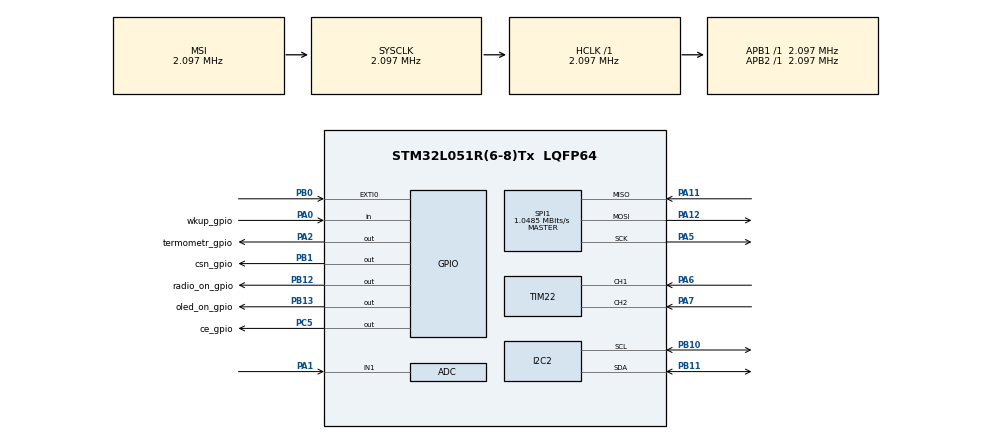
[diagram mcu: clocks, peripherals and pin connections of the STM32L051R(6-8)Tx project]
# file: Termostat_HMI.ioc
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Mcu.Family=STM32L0
Mcu.Name=STM32L051R(6-8)Tx
Mcu.Package=LQFP64
NVIC.EXTI0_1_IRQn=true\:0\:0\:false\:false\:true\:true\:true\:true
PA0.GPIO_Label=wkup_gpio
PA0.Signal=GPIO_Input
PA1.Mode=IN1
PA1.Signal=ADC_IN1
PA11.Mode=Full_Duplex_Master
PA11.Signal=SPI1_MISO
PA12.Mode=Full_Duplex_Master
PA12.Signal=SPI1_MOSI
PA13.Mode=Serial_Wire
PA13.Signal=SYS_SWDIO
PA14.Mode=Serial_Wire
PA14.Signal=SYS_SWCLK
PA2.GPIO_Label=termometr_gpio
PA2.GPIO_ModeDefaultOutputPP=GPIO_MODE_OUTPUT_OD
PA2.GPIO_PuPd=GPIO_NOPULL
PA2.Signal=GPIO_Output
PA5.Mode=Full_Duplex_Master
PA5.Signal=SPI1_SCK
PA6.Signal=S_TIM22_CH1
PA7.Signal=S_TIM22_CH2
PB0.Signal=GPXTI0
PB1.GPIO_Label=csn_gpio
PB1.Signal=GPIO_Output
PB10.Mode=I2C
PB10.Signal=I2C2_SCL
PB11.Mode=I2C
PB11.Signal=I2C2_SDA
PB12.GPIO_Label=radio_on_gpio
PB12.PinState=GPIO_PIN_SET
PB12.Signal=GPIO_Output
PB13.GPIO_Label=oled_on_gpio
PB13.GPIO_PuPd=GPIO_NOPULL
PB13.PinState=GPIO_PIN_SET
PB13.Signal=GPIO_Output
PC5.GPIO_Label=ce_gpio
PC5.Signal=GPIO_Output
ProjectManager.HeapSize=0x200
ProjectManager.StackSize=0x400
ProjectManager.TargetToolchain=STM32CubeIDE
RCC.AHBFreq_Value=2097000
RCC.APB1Freq_Value=2097000
RCC.APB1TimFreq_Value=2097000
RCC.APB2Freq_Value=2097000
RCC.APB2TimFreq_Value=2097000
RCC.HSE_VALUE=8000000
RCC.HSI16_VALUE=16000000
RCC.HSI_VALUE=16000000
RCC.LSE_VALUE=32768
RCC.MSI_VALUE=2097000
RCC.SYSCLKFreq_VALUE=2097000
RCC.VCOOutputFreq_Value=48000000
SH.S_TIM22_CH1.0=TIM22_CH1,Encoder_Interface
SH.S_TIM22_CH2.0=TIM22_CH2,Encoder_Interface
SPI1.CalculateBaudRate=1.0485 MBits/s
SPI1.Direction=SPI_DIRECTION_2LINES
SPI1.Mode=SPI_MODE_MASTER
SPI1.VirtualType=VM_MASTER
TIM22.EncoderMode=TIM_ENCODERMODE_TI12
VP_TIM2_VS_ClockSourceINT.Mode=Internal
board=custom

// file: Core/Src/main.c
/* USER CODE BEGIN Header */
/**
  ******************************************************************************
  * @file           : main.c
  * @brief          : Main program body
  ******************************************************************************
  * @attention
  *
  * Copyright (c) 2024 STMicroelectronics.
  * All rights reserved.
  *
  * This software is licensed under terms that can be found in the LICENSE file
  * in the root directory of this software component.
  * If no LICENSE file comes with this software, it is provided AS-IS.
  *
  ******************************************************************************
  */
/* USER CODE END Header */
#include "main.h"
#include "adc.h"
#include "i2c.h"
#include "spi.h"
#include "tim.h"
#include "gpio.h"

void SystemClock_Config(void);

/* USER CODE BEGIN 0 */
#include "menu.h"
#include "termostat.h"
#include "ds18b20.h"
DS18b20_Typedef termo;
termostat_Typedef htermostat;
menu_Typedef oled;
uint32_t tick;
/* USER CODE END 0 */

int main(void)
{

  /* MCU Configuration--------------------------------------------------------*/

  /* Reset of all peripherals, Initializes the Flash interface and the Systick. */
  HAL_Init();

  /* Configure the system clock */
  SystemClock_Config();

  /* Initialize all configured peripherals */
 MX_GPIO_Init();
 MX_ADC_Init();
 MX_I2C2_Init();
 MX_SPI1_Init();
  MX_TIM2_Init();
 MX_TIM22_Init();
  /* USER CODE BEGIN 2 */
  oled = menu_Init(GPIO_PIN_0,&htim22);
  htermostat.temp.tempMin = 19;
  htermostat.temp.tempMax = 23;
  htermostat.temp.userTemp = htermostat.temp.tempMin;
  HAL_TIM_Base_Start(&htim22);
  /* USER CODE END 2 */

  /* Infinite loop */
  while (1)
  {
	  if(HAL_GetTick()>1000)
	  {

		  menu_displayCurrentMenu(&oled);
		  tick=HAL_GetTick();
	  }

  }
}

void SystemClock_Config(void)
{
  RCC_OscInitTypeDef RCC_OscInitStruct = {0};
  RCC_ClkInitTypeDef RCC_ClkInitStruct = {0};

  /** Configure the main internal regulator output voltage
  */
  __HAL_PWR_VOLTAGESCALING_CONFIG(PWR_REGULATOR_VOLTAGE_SCALE1);

  /** Initializes the RCC Oscillators according to the specified parameters
  * in the RCC_OscInitTypeDef structure.
  */
  RCC_OscInitStruct.OscillatorType = RCC_OSCILLATORTYPE_MSI;
  RCC_OscInitStruct.MSIState = RCC_MSI_ON;
  RCC_OscInitStruct.MSICalibrationValue = 0;
  RCC_OscInitStruct.MSIClockRange = RCC_MSIRANGE_5;
  RCC_OscInitStruct.PLL.PLLState = RCC_PLL_NONE;
  if (HAL_RCC_OscConfig(&RCC_OscInitStruct) != HAL_OK)
  {
    Error_Handler();
  }

  /** Initializes the CPU, AHB and APB buses clocks
  */
  RCC_ClkInitStruct.ClockType = RCC_CLOCKTYPE_HCLK|RCC_CLOCKTYPE_SYSCLK
                              |RCC_CLOCKTYPE_PCLK1|RCC_CLOCKTYPE_PCLK2;
  RCC_ClkInitStruct.SYSCLKSource = RCC_SYSCLKSOURCE_MSI;
  RCC_ClkInitStruct.AHBCLKDivider = RCC_SYSCLK_DIV1;
  RCC_ClkInitStruct.APB1CLKDivider = RCC_HCLK_DIV1;
  RCC_ClkInitStruct.APB2CLKDivider = RCC_HCLK_DIV1;

  if (HAL_RCC_ClockConfig(&RCC_ClkInitStruct, FLASH_LATENCY_0) != HAL_OK)
  {
    Error_Handler();
  }
}

/* USER CODE BEGIN 4 */
void HAL_GPIO_EXTI_Callback(uint16_t GPIO_Pin)
{
  if(oled.hardwareConfig.button_pin == GPIO_Pin)
  {

    menu_process_IRQ(&oled);
  }
}
/* USER CODE END 4 */

void Error_Handler(void)
{
  __disable_irq();
  while (1)
  {
  }
}
